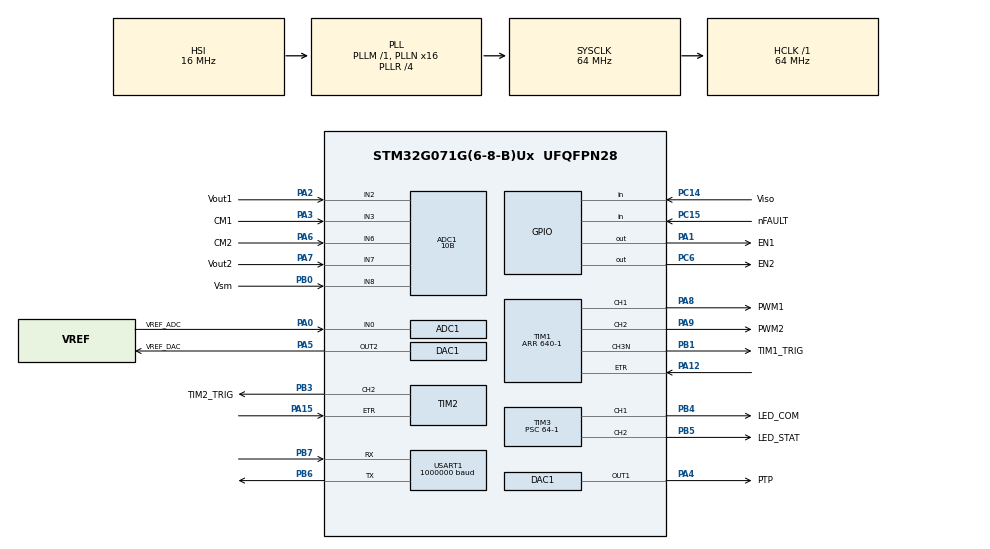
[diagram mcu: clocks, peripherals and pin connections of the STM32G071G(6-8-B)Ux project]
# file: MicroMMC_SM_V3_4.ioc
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ADC1.Channel-0\#ChannelRegularConversion=ADC_CHANNEL_3
ADC1.Channel-1\#ChannelRegularConversion=ADC_CHANNEL_6
ADC1.Channel-2\#ChannelRegularConversion=ADC_CHANNEL_2
ADC1.Channel-3\#ChannelRegularConversion=ADC_CHANNEL_7
ADC1.Channel-4\#ChannelRegularConversion=ADC_CHANNEL_8
ADC1.Channel-5\#ChannelRegularConversion=ADC_CHANNEL_0
ADC1.Channel-6\#ChannelRegularConversion=ADC_CHANNEL_TEMPSENSOR
ADC1.ContinuousConvMode=DISABLE
ADC1.DMAContinuousRequests=ENABLE
ADC1.EOCSelection=ADC_EOC_SEQ_CONV
ADC1.ExternalTrigConv=ADC_EXTERNALTRIG_T1_CC4
ADC1.LowPowerAutoPowerOff=ENABLE
ADC1.NbrOfConversion=7
ADC1.NbrOfConversionFlag=1
ADC1.Overrun=ADC_OVR_DATA_OVERWRITTEN
ADC1.Rank-0\#ChannelRegularConversion=1
ADC1.Rank-1\#ChannelRegularConversion=2
ADC1.Rank-2\#ChannelRegularConversion=3
ADC1.Rank-3\#ChannelRegularConversion=4
ADC1.Rank-4\#ChannelRegularConversion=5
ADC1.Rank-5\#ChannelRegularConversion=6
ADC1.Rank-6\#ChannelRegularConversion=7
ADC1.Resolution=ADC_RESOLUTION_10B
ADC1.SamplingTime-0\#ChannelRegularConversion=ADC_SAMPLINGTIME_COMMON_1
ADC1.SamplingTime-1\#ChannelRegularConversion=ADC_SAMPLINGTIME_COMMON_1
ADC1.SamplingTime-2\#ChannelRegularConversion=ADC_SAMPLINGTIME_COMMON_2
ADC1.SamplingTime-3\#ChannelRegularConversion=ADC_SAMPLINGTIME_COMMON_2
ADC1.SamplingTime-4\#ChannelRegularConversion=ADC_SAMPLINGTIME_COMMON_2
ADC1.SamplingTime-5\#ChannelRegularConversion=ADC_SAMPLINGTIME_COMMON_2
ADC1.SamplingTime-6\#ChannelRegularConversion=ADC_SAMPLINGTIME_COMMON_1
ADC1.SamplingTimeCommon1=ADC_SAMPLETIME_19CYCLES_5
ADC1.SamplingTimeCommon2=ADC_SAMPLETIME_3CYCLES_5
ADC1.SelectedChannel=ADC_CHANNEL_0|ADC_CHANNEL_2|ADC_CHANNEL_3|ADC_CHANNEL_6|ADC_CHANNEL_7|ADC_CHANNEL_TEMPSENSOR|ADC_CHANNEL_8
ADC1.master=1
DAC1.DAC_Channel-DAC_OUT1=DAC_CHANNEL_1
DAC1.DAC_Channel-DAC_OUT2=DAC_CHANNEL_2
Dma.ADC1.0.Direction=DMA_PERIPH_TO_MEMORY
Dma.ADC1.0.EventEnable=DISABLE
Dma.ADC1.0.Instance=DMA1_Channel1
Dma.ADC1.0.MemDataAlignment=DMA_MDATAALIGN_HALFWORD
Dma.ADC1.0.MemInc=DMA_MINC_ENABLE
Dma.ADC1.0.Mode=DMA_CIRCULAR
Dma.ADC1.0.PeriphDataAlignment=DMA_PDATAALIGN_HALFWORD
Dma.ADC1.0.PeriphInc=DMA_PINC_DISABLE
Dma.ADC1.0.Polarity=HAL_DMAMUX_REQ_GEN_RISING
Dma.ADC1.0.Priority=DMA_PRIORITY_MEDIUM
Dma.ADC1.0.RequestNumber=1
Dma.ADC1.0.SignalID=NONE
Dma.ADC1.0.SyncEnable=DISABLE
Dma.ADC1.0.SyncPolarity=HAL_DMAMUX_SYNC_NO_EVENT
Dma.ADC1.0.SyncRequestNumber=1
Dma.ADC1.0.SyncSignalID=NONE
Dma.Request0=ADC1
Dma.Request1=TIM1_CH1
Dma.Request2=TIM1_CH2
Dma.Request3=TIM3_CH1
Dma.Request4=TIM3_CH2
Dma.Request5=USART1_RX
Dma.Request6=USART1_TX
Dma.TIM1_CH1.1.Direction=DMA_MEMORY_TO_PERIPH
Dma.TIM1_CH1.1.EventEnable=DISABLE
Dma.TIM1_CH1.1.Instance=DMA1_Channel2
Dma.TIM1_CH1.1.MemDataAlignment=DMA_MDATAALIGN_HALFWORD
Dma.TIM1_CH1.1.MemInc=DMA_MINC_ENABLE
Dma.TIM1_CH1.1.Mode=DMA_CIRCULAR
Dma.TIM1_CH1.1.PeriphDataAlignment=DMA_PDATAALIGN_HALFWORD
Dma.TIM1_CH1.1.PeriphInc=DMA_PINC_DISABLE
Dma.TIM1_CH1.1.Polarity=HAL_DMAMUX_REQ_GEN_RISING
Dma.TIM1_CH1.1.Priority=DMA_PRIORITY_VERY_HIGH
Dma.TIM1_CH1.1.RequestNumber=1
Dma.TIM1_CH1.1.SignalID=NONE
Dma.TIM1_CH1.1.SyncEnable=DISABLE
Dma.TIM1_CH1.1.SyncPolarity=HAL_DMAMUX_SYNC_NO_EVENT
Dma.TIM1_CH1.1.SyncRequestNumber=1
Dma.TIM1_CH1.1.SyncSignalID=NONE
Dma.TIM1_CH2.2.Direction=DMA_MEMORY_TO_PERIPH
Dma.TIM1_CH2.2.EventEnable=DISABLE
Dma.TIM1_CH2.2.Instance=DMA1_Channel3
Dma.TIM1_CH2.2.MemDataAlignment=DMA_MDATAALIGN_HALFWORD
Dma.TIM1_CH2.2.MemInc=DMA_MINC_ENABLE
Dma.TIM1_CH2.2.Mode=DMA_CIRCULAR
Dma.TIM1_CH2.2.PeriphDataAlignment=DMA_PDATAALIGN_HALFWORD
Dma.TIM1_CH2.2.PeriphInc=DMA_PINC_DISABLE
Dma.TIM1_CH2.2.Polarity=HAL_DMAMUX_REQ_GEN_RISING
Dma.TIM1_CH2.2.Priority=DMA_PRIORITY_VERY_HIGH
Dma.TIM1_CH2.2.RequestNumber=1
Dma.TIM1_CH2.2.SignalID=NONE
Dma.TIM1_CH2.2.SyncEnable=DISABLE
Dma.TIM1_CH2.2.SyncPolarity=HAL_DMAMUX_SYNC_NO_EVENT
Dma.TIM1_CH2.2.SyncRequestNumber=1
Dma.TIM1_CH2.2.SyncSignalID=NONE
Dma.TIM3_CH1.3.Direction=DMA_MEMORY_TO_PERIPH
Dma.TIM3_CH1.3.EventEnable=DISABLE
Dma.TIM3_CH1.3.Instance=DMA1_Channel4
Dma.TIM3_CH1.3.MemDataAlignment=DMA_MDATAALIGN_HALFWORD
Dma.TIM3_CH1.3.MemInc=DMA_MINC_ENABLE
Dma.TIM3_CH1.3.Mode=DMA_CIRCULAR
Dma.TIM3_CH1.3.PeriphDataAlignment=DMA_PDATAALIGN_HALFWORD
Dma.TIM3_CH1.3.PeriphInc=DMA_PINC_DISABLE
Dma.TIM3_CH1.3.Polarity=HAL_DMAMUX_REQ_GEN_RISING
Dma.TIM3_CH1.3.Priority=DMA_PRIORITY_LOW
Dma.TIM3_CH1.3.RequestNumber=1
Dma.TIM3_CH1.3.SignalID=NONE
Dma.TIM3_CH1.3.SyncEnable=DISABLE
Dma.TIM3_CH1.3.SyncPolarity=HAL_DMAMUX_SYNC_NO_EVENT
Dma.TIM3_CH1.3.SyncRequestNumber=1
Dma.TIM3_CH1.3.SyncSignalID=NONE
Dma.TIM3_CH2.4.Direction=DMA_MEMORY_TO_PERIPH
Dma.TIM3_CH2.4.EventEnable=DISABLE
Dma.TIM3_CH2.4.Instance=DMA1_Channel5
Dma.TIM3_CH2.4.MemDataAlignment=DMA_MDATAALIGN_HALFWORD
Dma.TIM3_CH2.4.MemInc=DMA_MINC_ENABLE
Dma.TIM3_CH2.4.Mode=DMA_CIRCULAR
Dma.TIM3_CH2.4.PeriphDataAlignment=DMA_PDATAALIGN_HALFWORD
Dma.TIM3_CH2.4.PeriphInc=DMA_PINC_DISABLE
Dma.TIM3_CH2.4.Polarity=HAL_DMAMUX_REQ_GEN_RISING
Dma.TIM3_CH2.4.Priority=DMA_PRIORITY_LOW
Dma.TIM3_CH2.4.RequestNumber=1
Dma.TIM3_CH2.4.SignalID=NONE
Dma.TIM3_CH2.4.SyncEnable=DISABLE
Dma.TIM3_CH2.4.SyncPolarity=HAL_DMAMUX_SYNC_NO_EVENT
Dma.TIM3_CH2.4.SyncRequestNumber=1
Dma.TIM3_CH2.4.SyncSignalID=NONE
Dma.USART1_RX.5.Direction=DMA_PERIPH_TO_MEMORY
Dma.USART1_RX.5.EventEnable=DISABLE
Dma.USART1_RX.5.Instance=DMA1_Channel6
Dma.USART1_RX.5.MemDataAlignment=DMA_MDATAALIGN_BYTE
Dma.USART1_RX.5.MemInc=DMA_MINC_ENABLE
Dma.USART1_RX.5.Mode=DMA_CIRCULAR
Dma.USART1_RX.5.PeriphDataAlignment=DMA_PDATAALIGN_BYTE
Dma.USART1_RX.5.PeriphInc=DMA_PINC_DISABLE
Dma.USART1_RX.5.Polarity=HAL_DMAMUX_REQ_GEN_RISING
Dma.USART1_RX.5.Priority=DMA_PRIORITY_HIGH
Dma.USART1_RX.5.RequestNumber=1
Dma.USART1_RX.5.SignalID=NONE
Dma.USART1_RX.5.SyncEnable=DISABLE
Dma.USART1_RX.5.SyncPolarity=HAL_DMAMUX_SYNC_NO_EVENT
Dma.USART1_RX.5.SyncRequestNumber=1
Dma.USART1_RX.5.SyncSignalID=NONE
Dma.USART1_TX.6.Direction=DMA_MEMORY_TO_PERIPH
Dma.USART1_TX.6.EventEnable=DISABLE
Dma.USART1_TX.6.Instance=DMA1_Channel7
Dma.USART1_TX.6.MemDataAlignment=DMA_MDATAALIGN_BYTE
Dma.USART1_TX.6.MemInc=DMA_MINC_ENABLE
Dma.USART1_TX.6.Mode=DMA_NORMAL
Dma.USART1_TX.6.PeriphDataAlignment=DMA_PDATAALIGN_BYTE
Dma.USART1_TX.6.PeriphInc=DMA_PINC_DISABLE
Dma.USART1_TX.6.Polarity=HAL_DMAMUX_REQ_GEN_RISING
Dma.USART1_TX.6.Priority=DMA_PRIORITY_HIGH
Dma.USART1_TX.6.RequestNumber=1
Dma.USART1_TX.6.SignalID=NONE
Dma.USART1_TX.6.SyncEnable=DISABLE
Dma.USART1_TX.6.SyncPolarity=HAL_DMAMUX_SYNC_NO_EVENT
Dma.USART1_TX.6.SyncRequestNumber=1
Dma.USART1_TX.6.SyncSignalID=NONE
Mcu.Family=STM32G0
Mcu.Name=STM32G071G(6-8-B)Ux
Mcu.Package=UFQFPN28
NVIC.DMA1_Ch4_7_DMAMUX1_OVR_IRQn=true\:0\:0\:false\:false\:true\:false\:true\:true
NVIC.DMA1_Channel1_IRQn=true\:0\:0\:false\:false\:true\:false\:true\:true
NVIC.DMA1_Channel2_3_IRQn=true\:0\:0\:false\:false\:true\:false\:true\:true
PA0.GPIO_Label=VREF_ADC
PA0.Mode=IN0
PA0.Signal=ADC1_IN0
PA1.GPIO_Label=EN1
PA1.Signal=GPIO_Output
PA12\ [PA10].GPIO_Speed=GPIO_SPEED_FREQ_LOW
PA12\ [PA10].Signal=S_TIM1_ETR
PA13.Mode=Serial_Wire
PA13.Signal=SYS_SWDIO
PA14-BOOT0.Mode=Serial_Wire
PA14-BOOT0.Signal=SYS_SWCLK
PA15.Signal=S_TIM2_CH1_ETR
PA2.GPIO_Label=Vout1
PA2.Mode=IN2
PA2.Signal=ADC1_IN2
PA3.GPIO_Label=CM1
PA3.Mode=IN3
PA3.Signal=ADC1_IN3
PA4.GPIO_Label=PTP
PA4.Signal=COMP_DAC11_group
PA5.GPIO_Label=VREF_DAC
PA5.Signal=COMP_DAC12_group
PA6.GPIO_Label=CM2
PA6.Mode=IN6
PA6.Signal=ADC1_IN6
PA7.GPIO_Label=Vout2
PA7.Mode=IN7
PA7.Signal=ADC1_IN7
PA8.GPIO_Label=PWM1
PA8.GPIO_Speed=GPIO_SPEED_FREQ_VERY_HIGH
PA8.Signal=S_TIM1_CH1
PA9\ [PA11].GPIO_Label=PWM2
PA9\ [PA11].GPIO_Speed=GPIO_SPEED_FREQ_VERY_HIGH
PA9\ [PA11].Signal=S_TIM1_CH2
PB0.GPIO_Label=Vsm
PB0.Mode=IN8
PB0.Signal=ADC1_IN8
PB1.GPIO_Label=TIM1_TRIG
PB1.Mode=PWM Generation3 CH3N
PB1.Signal=TIM1_CH3N
PB3.GPIO_Label=TIM2_TRIG
PB3.Signal=S_TIM2_CH2
PB4.GPIO_Label=LED_COM
PB4.Signal=S_TIM3_CH1
PB5.GPIO_Label=LED_STAT
PB5.Signal=S_TIM3_CH2
PB6.GPIO_Speed=GPIO_SPEED_FREQ_VERY_HIGH
PB6.Mode=Asynchronous
PB6.Signal=USART1_TX
PB7.Mode=Asynchronous
PB7.Signal=USART1_RX
PC14-OSC32_IN\ (PC14).GPIO_Label=Viso
PC14-OSC32_IN\ (PC14).Signal=GPIO_Input
PC15-OSC32_OUT\ (PC15).GPIO_Label=nFAULT
PC15-OSC32_OUT\ (PC15).GPIO_PuPd=GPIO_PULLUP
PC15-OSC32_OUT\ (PC15).Signal=GPIO_Input
PC6.GPIO_Label=EN2
PC6.Signal=GPIO_Output
ProjectManager.HeapSize=0x200
ProjectManager.StackSize=0x400
ProjectManager.TargetToolchain=STM32CubeIDE
RCC.ADCFreq_Value=64000000
RCC.AHBFreq_Value=64000000
RCC.CortexFreq_Value=64000000
RCC.EXTERNAL_CLOCK_VALUE=48000
RCC.HCLKFreq_Value=64000000
RCC.HSE_VALUE=8000000
RCC.HSI_VALUE=16000000
RCC.LSE_VALUE=32768
RCC.PLLN=16
RCC.PLLR=RCC_PLLR_DIV4
RCC.SYSCLKFreq_VALUE=64000000
RCC.SYSCLKSource=RCC_SYSCLKSOURCE_PLLCLK
RCC.TIM1CLockSelectionVirtual=RCC_TIM1CLKSOURCE_PLL
RCC.VCOOutputFreq_Value=256000000
SH.COMP_DAC11_group.0=DAC1_OUT1,DAC_OUT1
SH.COMP_DAC12_group.0=DAC1_OUT2,DAC_OUT2
SH.S_TIM1_CH1.0=TIM1_CH1,PWM Generation1 CH1
SH.S_TIM1_CH2.0=TIM1_CH2,PWM Generation2 CH2
SH.S_TIM1_ETR.0=TIM1_ETR,ETR-as-clearing-source
SH.S_TIM2_CH1_ETR.0=TIM2_ETR,ETR-as-clearing-source
SH.S_TIM2_CH2.0=TIM2_CH2,PWM Generation2 CH2
SH.S_TIM3_CH1.0=TIM3_CH1,PWM Generation1 CH1
SH.S_TIM3_CH2.0=TIM3_CH2,PWM Generation2 CH2
TIM1.Channel-PWM\ Generation1\ CH1=TIM_CHANNEL_1
TIM1.Channel-PWM\ Generation2\ CH2=TIM_CHANNEL_2
TIM1.Channel-PWM\ Generation3\ CH3N=TIM_CHANNEL_3
TIM1.Channel-PWM\ Generation4\ No\ Output=TIM_CHANNEL_4
TIM1.CounterMode=TIM_COUNTERMODE_CENTERALIGNED2
TIM1.Period=640-1
TIM1.Pulse-PWM\ Generation4\ No\ Output=46
TIM1.TIM_MasterOutputTrigger=TIM_TRGO_RESET
TIM1.TIM_MasterOutputTrigger2=TIM_TRGO2_OC4REF
TIM2.Channel-PWM\ Generation2\ CH2=TIM_CHANNEL_2
TIM3.Channel-PWM\ Generation1\ CH1=TIM_CHANNEL_1
TIM3.Channel-PWM\ Generation2\ CH2=TIM_CHANNEL_2
TIM3.Period=10000
TIM3.Prescaler=64-1
USART1.BaudRate=1000000
USART1.Parity=PARITY_ODD
USART1.VirtualMode-Asynchronous=VM_ASYNC
USART1.WordLength=WORDLENGTH_9B
VP_ADC1_TempSens_Input.Mode=IN-TempSens
VP_SYS_VS_PINREMAP.Mode=PINREMAP
VP_TIM1_VS_ClockSourceINT.Mode=Internal
VP_TIM1_VS_no_output4.Mode=PWM Generation4 No Output
VP_TIM2_VS_ClockSourceINT.Mode=Internal
VP_TIM3_VS_ClockSourceINT.Mode=Internal
board=custom

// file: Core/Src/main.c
/* USER CODE BEGIN Header */
/**
  ******************************************************************************
  * @file           : main.c
  * @brief          : Main program body for the Micro-MMC SM MCU, v3.40
  ******************************************************************************
  * @attention
  *
  * Copyright (c) 2026 Michael Merlin, University of Edinburgh.
  * Copyright (c) 2026 STMicroelectronics.
  * All rights reserved.
  *
  * This software is licensed under terms that can be found in the LICENSE file
  * in the root directory of this software component.
  * If no LICENSE file comes with this software, it is provided AS-IS.
  *
  ******************************************************************************
  */
/* USER CODE END Header */
#include "main.h"

/* USER CODE BEGIN Includes */

#include <data_tables.h>

/* USER CODE END Includes */

/* USER CODE BEGIN PTD */

#define TIMER_CLK		64000000
#define TIMER1_ARR  	640
#define TIMER2_ARR  	1000
#define ADC_RESOLUTION 	1024
#define DMA_SAMPLES_BIT	3
#define DMA_SAMPLES 	8 		//2^DMA_SAMPLES_BIT or (1<<(DMA_SAMPLES_BIT-1))
#define ADC_CHANNELS 	7
#define DMA_BUFFER_SIZE	ADC_CHANNELS*DMA_SAMPLES
#define DAC_OFFSET		2048	// 1.65V/3.3*DAC_RESOLUTION
#define	PI				3.1415926535
#define MESSAGE_LENGTH	4

/* USER CODE END PTD */

ADC_HandleTypeDef hadc1;
DMA_HandleTypeDef hdma_adc1;

DAC_HandleTypeDef hdac1;

TIM_HandleTypeDef htim1;
TIM_HandleTypeDef htim2;
TIM_HandleTypeDef htim3;
DMA_HandleTypeDef hdma_tim1_ch1;
DMA_HandleTypeDef hdma_tim1_ch2;
DMA_HandleTypeDef hdma_tim3_ch1;
DMA_HandleTypeDef hdma_tim3_ch2;

UART_HandleTypeDef huart1;
DMA_HandleTypeDef hdma_usart1_rx;
DMA_HandleTypeDef hdma_usart1_tx;

/* USER CODE BEGIN PV */

uint16_t dma_buffer[2 * DMA_BUFFER_SIZE];
uint16_t bufferStart = 0;
uint8_t processData_flag = 0;
  // variables for ADC calculation
int32_t i1_sum = 0, i2_sum = 0;
uint32_t v1_sum = 0, v2_sum = 0, vsm_sum = 0, vref_sum = 0;
uint32_t cpu_temp_sum = 0;
int32_t i1_avg, i2_avg;
uint32_t v1_avg, v2_avg, vsm_avg, vref_avg;
uint32_t cpu_temp_avg;
	// variables for UART
uint8_t UART1_rxBuffer[2 * MESSAGE_LENGTH] = {0};

/* USER CODE END PV */

void SystemClock_Config(void);
static void MX_GPIO_Init(void);
static void MX_DMA_Init(void);
static void MX_DAC1_Init(void);
static void MX_TIM1_Init(void);
static void MX_TIM2_Init(void);
static void MX_TIM3_Init(void);
static void MX_ADC1_Init(void);
static void MX_USART1_UART_Init(void);

/* USER CODE BEGIN 0 */

void Process_ADC_data(void)
{
	uint16_t *buffer = &dma_buffer[bufferStart];
	i1_sum = 0, i2_sum = 0, v1_sum = 0, v2_sum = 0, vsm_sum = 0, vref_sum = 0, cpu_temp_sum = 0;
	for (int i = 0; i < DMA_SAMPLES; ++i) {
		i1_sum += buffer[0];
		i2_sum += buffer[1];
		v1_sum += buffer[2];
		v2_sum += buffer[3];
		vsm_sum += buffer[4];
		vref_sum += buffer[5];
		cpu_temp_sum += buffer[6];

		// move pointer to the next sequence
		buffer += ADC_CHANNELS;
		}

	vref_avg = (vref_sum >> DMA_SAMPLES_BIT);
	i1_avg = (int32_t)(i1_sum >> DMA_SAMPLES_BIT) - vref_avg;
	i2_avg = (int32_t)(i2_sum >> DMA_SAMPLES_BIT) - vref_avg;
	v1_avg = (v1_sum >> DMA_SAMPLES_BIT);
	v2_avg = (v1_sum >> DMA_SAMPLES_BIT);
	vsm_avg = (vsm_sum >> DMA_SAMPLES_BIT);
	cpu_temp_avg = (cpu_temp_sum >> DMA_SAMPLES_BIT);

	/*
	// VDDA can be calculated based on the measured vref and the calibration data
	vdda = (float) VREFINT_CAL_VREF * (float) *VREFINT_CAL_ADDR / vref_avg / 1000;

	// Knowing vdda and the resolution of adc - the actual voltage can be calculated
	vref = (float) vdda / ADC_RESOLUTION * vref_avg;

	// Temperature can be calculated based on the
	temp = (float) ((float) ((float) (TEMPSENSOR_CAL2_TEMP - TEMPSENSOR_CAL1_TEMP) / (float) (*TEMPSENSOR_CAL2_ADDR - *TEMPSENSOR_CAL1_ADDR)) * (temp_avg *TEMPSENSOR_CAL1_ADDR) + TEMPSENSOR_CAL1_TEMP);
	*/

	processData_flag = 0;

	return;
}

/* USER CODE END 0 */

int main(void)
{

  /* MCU Configuration--------------------------------------------------------*/

  /* Reset of all peripherals, Initializes the Flash interface and the Systick. */
  HAL_Init();

  /* Configure the system clock */
  SystemClock_Config();

  /* Initialize all configured peripherals */
  MX_GPIO_Init();
  MX_DMA_Init();
  MX_DAC1_Init();
  MX_TIM1_Init();
  MX_TIM2_Init();
  MX_TIM3_Init();
  MX_ADC1_Init();
  MX_USART1_UART_Init();
  /* USER CODE BEGIN 2 */

	  // calibrate ADC for better accuracy
	if(HAL_ADCEx_Calibration_Start(&hadc1) != HAL_OK)
	  Error_Handler();

		  // Set the DC value for the DAC
	DAC1->DHR12R2 = DAC_OFFSET;
	HAL_DAC_Start(&hdac1, DAC_CHANNEL_2);

		  // Start the DMA triggered ADC
	if(HAL_ADC_Start_DMA(&hadc1, (uint32_t*) &dma_buffer, 2 * DMA_BUFFER_SIZE) != HAL_OK)
	  Error_Handler();

		  // Set up the receiving link
	HAL_UART_Receive_DMA(&huart1, UART1_rxBuffer, MESSAGE_LENGTH);

		  // Enable Pins for H-Bridges & Activate Timer 1 for PWM
	HAL_TIM_PWM_Start_DMA(&htim1, TIM_CHANNEL_1, (uint32_t *) cos_A640_M110_PH000_THI_table, COS_TABLE_LENGTH);
	HAL_TIM_PWM_Start_DMA(&htim1, TIM_CHANNEL_2, (uint32_t *) cos_A640_M110_PH090_THI_table, COS_TABLE_LENGTH);
	TIM1->CCR3 = 64; // To account for the 500ns delay in bridge switching - to be moved to CCR4

		  // Enable the Motor Drive outputs
	HAL_GPIO_WritePin(EN1_GPIO_Port, EN1_Pin, GPIO_PIN_SET);
	HAL_GPIO_WritePin(EN2_GPIO_Port, EN2_Pin, GPIO_PIN_SET);

  // Activate heartbeat patterns for LEDs
    // STAT LED
  HAL_TIM_PWM_Start_DMA(&htim3, TIM_CHANNEL_1, (uint32_t *) heartbeat_1Hz_A10000_table, HEARTBEAT_LENGTH);
    // COM LED
  HAL_TIM_PWM_Start_DMA(&htim3, TIM_CHANNEL_2, (uint32_t *) heartbeat_2Hz_A10000_table, HEARTBEAT_LENGTH);

  /* USER CODE END 2 */

  /* Infinite loop */
  while (1)
  {

    /* USER CODE BEGIN 3 */

	  if(processData_flag)
	  {
		  Process_ADC_data();
	  }

	  // Sleep this next interruption
	  HAL_SuspendTick();
	  HAL_PWR_EnterSLEEPMode(PWR_MAINREGULATOR_ON, PWR_SLEEPENTRY_WFI);
  }
  /* USER CODE END 3 */
}

void SystemClock_Config(void)
{
  RCC_OscInitTypeDef RCC_OscInitStruct = {0};
  RCC_ClkInitTypeDef RCC_ClkInitStruct = {0};

  /** Configure the main internal regulator output voltage
  */
  HAL_PWREx_ControlVoltageScaling(PWR_REGULATOR_VOLTAGE_SCALE1);

  /** Initializes the RCC Oscillators according to the specified parameters
  * in the RCC_OscInitTypeDef structure.
  */
  RCC_OscInitStruct.OscillatorType = RCC_OSCILLATORTYPE_HSI;
  RCC_OscInitStruct.HSIState = RCC_HSI_ON;
  RCC_OscInitStruct.HSIDiv = RCC_HSI_DIV1;
  RCC_OscInitStruct.HSICalibrationValue = RCC_HSICALIBRATION_DEFAULT;
  RCC_OscInitStruct.PLL.PLLState = RCC_PLL_ON;
  RCC_OscInitStruct.PLL.PLLSource = RCC_PLLSOURCE_HSI;
  RCC_OscInitStruct.PLL.PLLM = RCC_PLLM_DIV1;
  RCC_OscInitStruct.PLL.PLLN = 16;
  RCC_OscInitStruct.PLL.PLLP = RCC_PLLP_DIV2;
  RCC_OscInitStruct.PLL.PLLQ = RCC_PLLQ_DIV2;
  RCC_OscInitStruct.PLL.PLLR = RCC_PLLR_DIV4;
  if (HAL_RCC_OscConfig(&RCC_OscInitStruct) != HAL_OK)
  {
    Error_Handler();
  }

  /** Initializes the CPU, AHB and APB buses clocks
  */
  RCC_ClkInitStruct.ClockType = RCC_CLOCKTYPE_HCLK|RCC_CLOCKTYPE_SYSCLK
                              |RCC_CLOCKTYPE_PCLK1;
  RCC_ClkInitStruct.SYSCLKSource = RCC_SYSCLKSOURCE_PLLCLK;
  RCC_ClkInitStruct.AHBCLKDivider = RCC_SYSCLK_DIV1;
  RCC_ClkInitStruct.APB1CLKDivider = RCC_HCLK_DIV1;

  if (HAL_RCC_ClockConfig(&RCC_ClkInitStruct, FLASH_LATENCY_2) != HAL_OK)
  {
    Error_Handler();
  }
}

static void MX_ADC1_Init(void)
{

  ADC_ChannelConfTypeDef sConfig = {0};

  /** Configure the global features of the ADC (Clock, Resolution, Data Alignment and number of conversion)
  */
  hadc1.Instance = ADC1;
  hadc1.Init.ClockPrescaler = ADC_CLOCK_SYNC_PCLK_DIV2;
  hadc1.Init.Resolution = ADC_RESOLUTION_10B;
  hadc1.Init.DataAlign = ADC_DATAALIGN_RIGHT;
  hadc1.Init.ScanConvMode = ADC_SCAN_ENABLE;
  hadc1.Init.EOCSelection = ADC_EOC_SEQ_CONV;
  hadc1.Init.LowPowerAutoWait = DISABLE;
  hadc1.Init.LowPowerAutoPowerOff = ENABLE;
  hadc1.Init.ContinuousConvMode = DISABLE;
  hadc1.Init.NbrOfConversion = 7;
  hadc1.Init.DiscontinuousConvMode = DISABLE;
  hadc1.Init.ExternalTrigConv = ADC_EXTERNALTRIG_T1_CC4;
  hadc1.Init.ExternalTrigConvEdge = ADC_EXTERNALTRIGCONVEDGE_RISING;
  hadc1.Init.DMAContinuousRequests = ENABLE;
  hadc1.Init.Overrun = ADC_OVR_DATA_OVERWRITTEN;
  hadc1.Init.SamplingTimeCommon1 = ADC_SAMPLETIME_19CYCLES_5;
  hadc1.Init.SamplingTimeCommon2 = ADC_SAMPLETIME_3CYCLES_5;
  hadc1.Init.OversamplingMode = DISABLE;
  hadc1.Init.TriggerFrequencyMode = ADC_TRIGGER_FREQ_HIGH;
  if (HAL_ADC_Init(&hadc1) != HAL_OK)
  {
    Error_Handler();
  }

  /** Configure Regular Channel
  */
  sConfig.Channel = ADC_CHANNEL_3;
  sConfig.Rank = ADC_REGULAR_RANK_1;
  sConfig.SamplingTime = ADC_SAMPLINGTIME_COMMON_1;
  if (HAL_ADC_ConfigChannel(&hadc1, &sConfig) != HAL_OK)
  {
    Error_Handler();
  }

  /** Configure Regular Channel
  */
  sConfig.Channel = ADC_CHANNEL_6;
  sConfig.Rank = ADC_REGULAR_RANK_2;
  if (HAL_ADC_ConfigChannel(&hadc1, &sConfig) != HAL_OK)
  {
    Error_Handler();
  }

  /** Configure Regular Channel
  */
  sConfig.Channel = ADC_CHANNEL_2;
  sConfig.Rank = ADC_REGULAR_RANK_3;
  sConfig.SamplingTime = ADC_SAMPLINGTIME_COMMON_2;
  if (HAL_ADC_ConfigChannel(&hadc1, &sConfig) != HAL_OK)
  {
    Error_Handler();
  }

  /** Configure Regular Channel
  */
  sConfig.Channel = ADC_CHANNEL_7;
  sConfig.Rank = ADC_REGULAR_RANK_4;
  if (HAL_ADC_ConfigChannel(&hadc1, &sConfig) != HAL_OK)
  {
    Error_Handler();
  }

  /** Configure Regular Channel
  */
  sConfig.Channel = ADC_CHANNEL_8;
  sConfig.Rank = ADC_REGULAR_RANK_5;
  if (HAL_ADC_ConfigChannel(&hadc1, &sConfig) != HAL_OK)
  {
    Error_Handler();
  }

  /** Configure Regular Channel
  */
  sConfig.Channel = ADC_CHANNEL_0;
  sConfig.Rank = ADC_REGULAR_RANK_6;
  if (HAL_ADC_ConfigChannel(&hadc1, &sConfig) != HAL_OK)
  {
    Error_Handler();
  }

  /** Configure Regular Channel
  */
  sConfig.Channel = ADC_CHANNEL_TEMPSENSOR;
  sConfig.Rank = ADC_REGULAR_RANK_7;
  sConfig.SamplingTime = ADC_SAMPLINGTIME_COMMON_1;
  if (HAL_ADC_ConfigChannel(&hadc1, &sConfig) != HAL_OK)
  {
    Error_Handler();
  }

}

static void MX_DAC1_Init(void)
{

  DAC_ChannelConfTypeDef sConfig = {0};

  /** DAC Initialization
  */
  hdac1.Instance = DAC1;
  if (HAL_DAC_Init(&hdac1) != HAL_OK)
  {
    Error_Handler();
  }

  /** DAC channel OUT1 config
  */
  sConfig.DAC_SampleAndHold = DAC_SAMPLEANDHOLD_DISABLE;
  sConfig.DAC_Trigger = DAC_TRIGGER_NONE;
  sConfig.DAC_OutputBuffer = DAC_OUTPUTBUFFER_ENABLE;
  sConfig.DAC_ConnectOnChipPeripheral = DAC_CHIPCONNECT_DISABLE;
  sConfig.DAC_UserTrimming = DAC_TRIMMING_FACTORY;
  if (HAL_DAC_ConfigChannel(&hdac1, &sConfig, DAC_CHANNEL_1) != HAL_OK)
  {
    Error_Handler();
  }

  /** DAC channel OUT2 config
  */
  if (HAL_DAC_ConfigChannel(&hdac1, &sConfig, DAC_CHANNEL_2) != HAL_OK)
  {
    Error_Handler();
  }

}

static void MX_TIM1_Init(void)
{

  TIM_ClockConfigTypeDef sClockSourceConfig = {0};
  TIM_MasterConfigTypeDef sMasterConfig = {0};
  TIM_OC_InitTypeDef sConfigOC = {0};
  TIM_BreakDeadTimeConfigTypeDef sBreakDeadTimeConfig = {0};

  htim1.Instance = TIM1;
  htim1.Init.Prescaler = 0;
  htim1.Init.CounterMode = TIM_COUNTERMODE_CENTERALIGNED2;
  htim1.Init.Period = 640-1;
  htim1.Init.ClockDivision = TIM_CLOCKDIVISION_DIV1;
  htim1.Init.RepetitionCounter = 0;
  htim1.Init.AutoReloadPreload = TIM_AUTORELOAD_PRELOAD_DISABLE;
  if (HAL_TIM_Base_Init(&htim1) != HAL_OK)
  {
    Error_Handler();
  }
  sClockSourceConfig.ClockSource = TIM_CLOCKSOURCE_INTERNAL;
  if (HAL_TIM_ConfigClockSource(&htim1, &sClockSourceConfig) != HAL_OK)
  {
    Error_Handler();
  }
  if (HAL_TIM_PWM_Init(&htim1) != HAL_OK)
  {
    Error_Handler();
  }
  sMasterConfig.MasterOutputTrigger = TIM_TRGO_RESET;
  sMasterConfig.MasterOutputTrigger2 = TIM_TRGO2_OC4REF;
  sMasterConfig.MasterSlaveMode = TIM_MASTERSLAVEMODE_DISABLE;
  if (HAL_TIMEx_MasterConfigSynchronization(&htim1, &sMasterConfig) != HAL_OK)
  {
    Error_Handler();
  }
  sConfigOC.OCMode = TIM_OCMODE_PWM1;
  sConfigOC.Pulse = 0;
  sConfigOC.OCPolarity = TIM_OCPOLARITY_HIGH;
  sConfigOC.OCNPolarity = TIM_OCNPOLARITY_HIGH;
  sConfigOC.OCFastMode = TIM_OCFAST_DISABLE;
  sConfigOC.OCIdleState = TIM_OCIDLESTATE_RESET;
  sConfigOC.OCNIdleState = TIM_OCNIDLESTATE_RESET;
  if (HAL_TIM_PWM_ConfigChannel(&htim1, &sConfigOC, TIM_CHANNEL_1) != HAL_OK)
  {
    Error_Handler();
  }
  if (HAL_TIM_PWM_ConfigChannel(&htim1, &sConfigOC, TIM_CHANNEL_2) != HAL_OK)
  {
    Error_Handler();
  }
  if (HAL_TIM_PWM_ConfigChannel(&htim1, &sConfigOC, TIM_CHANNEL_3) != HAL_OK)
  {
    Error_Handler();
  }
  sConfigOC.Pulse = 46;
  if (HAL_TIM_PWM_ConfigChannel(&htim1, &sConfigOC, TIM_CHANNEL_4) != HAL_OK)
  {
    Error_Handler();
  }
  sBreakDeadTimeConfig.OffStateRunMode = TIM_OSSR_DISABLE;
  sBreakDeadTimeConfig.OffStateIDLEMode = TIM_OSSI_DISABLE;
  sBreakDeadTimeConfig.LockLevel = TIM_LOCKLEVEL_OFF;
  sBreakDeadTimeConfig.DeadTime = 0;
  sBreakDeadTimeConfig.BreakState = TIM_BREAK_DISABLE;
  sBreakDeadTimeConfig.BreakPolarity = TIM_BREAKPOLARITY_HIGH;
  sBreakDeadTimeConfig.BreakFilter = 0;
  sBreakDeadTimeConfig.BreakAFMode = TIM_BREAK_AFMODE_INPUT;
  sBreakDeadTimeConfig.Break2State = TIM_BREAK2_DISABLE;
  sBreakDeadTimeConfig.Break2Polarity = TIM_BREAK2POLARITY_HIGH;
  sBreakDeadTimeConfig.Break2Filter = 0;
  sBreakDeadTimeConfig.Break2AFMode = TIM_BREAK_AFMODE_INPUT;
  sBreakDeadTimeConfig.AutomaticOutput = TIM_AUTOMATICOUTPUT_DISABLE;
  if (HAL_TIMEx_ConfigBreakDeadTime(&htim1, &sBreakDeadTimeConfig) != HAL_OK)
  {
    Error_Handler();
  }
  HAL_TIM_MspPostInit(&htim1);

}

static void MX_TIM2_Init(void)
{

  TIM_ClockConfigTypeDef sClockSourceConfig = {0};
  TIM_MasterConfigTypeDef sMasterConfig = {0};
  TIM_OC_InitTypeDef sConfigOC = {0};

  htim2.Instance = TIM2;
  htim2.Init.Prescaler = 0;
  htim2.Init.CounterMode = TIM_COUNTERMODE_UP;
  htim2.Init.Period = 4294967295;
  htim2.Init.ClockDivision = TIM_CLOCKDIVISION_DIV1;
  htim2.Init.AutoReloadPreload = TIM_AUTORELOAD_PRELOAD_DISABLE;
  if (HAL_TIM_Base_Init(&htim2) != HAL_OK)
  {
    Error_Handler();
  }
  sClockSourceConfig.ClockSource = TIM_CLOCKSOURCE_INTERNAL;
  if (HAL_TIM_ConfigClockSource(&htim2, &sClockSourceConfig) != HAL_OK)
  {
    Error_Handler();
  }
  if (HAL_TIM_PWM_Init(&htim2) != HAL_OK)
  {
    Error_Handler();
  }
  sMasterConfig.MasterOutputTrigger = TIM_TRGO_RESET;
  sMasterConfig.MasterSlaveMode = TIM_MASTERSLAVEMODE_DISABLE;
  if (HAL_TIMEx_MasterConfigSynchronization(&htim2, &sMasterConfig) != HAL_OK)
  {
    Error_Handler();
  }
  sConfigOC.OCMode = TIM_OCMODE_PWM1;
  sConfigOC.Pulse = 0;
  sConfigOC.OCPolarity = TIM_OCPOLARITY_HIGH;
  sConfigOC.OCFastMode = TIM_OCFAST_DISABLE;
  if (HAL_TIM_PWM_ConfigChannel(&htim2, &sConfigOC, TIM_CHANNEL_2) != HAL_OK)
  {
    Error_Handler();
  }
  HAL_TIM_MspPostInit(&htim2);

}

static void MX_TIM3_Init(void)
{

  TIM_ClockConfigTypeDef sClockSourceConfig = {0};
  TIM_MasterConfigTypeDef sMasterConfig = {0};
  TIM_OC_InitTypeDef sConfigOC = {0};

  htim3.Instance = TIM3;
  htim3.Init.Prescaler = 64-1;
  htim3.Init.CounterMode = TIM_COUNTERMODE_UP;
  htim3.Init.Period = 10000;
  htim3.Init.ClockDivision = TIM_CLOCKDIVISION_DIV1;
  htim3.Init.AutoReloadPreload = TIM_AUTORELOAD_PRELOAD_DISABLE;
  if (HAL_TIM_Base_Init(&htim3) != HAL_OK)
  {
    Error_Handler();
  }
  sClockSourceConfig.ClockSource = TIM_CLOCKSOURCE_INTERNAL;
  if (HAL_TIM_ConfigClockSource(&htim3, &sClockSourceConfig) != HAL_OK)
  {
    Error_Handler();
  }
  if (HAL_TIM_PWM_Init(&htim3) != HAL_OK)
  {
    Error_Handler();
  }
  sMasterConfig.MasterOutputTrigger = TIM_TRGO_RESET;
  sMasterConfig.MasterSlaveMode = TIM_MASTERSLAVEMODE_DISABLE;
  if (HAL_TIMEx_MasterConfigSynchronization(&htim3, &sMasterConfig) != HAL_OK)
  {
    Error_Handler();
  }
  sConfigOC.OCMode = TIM_OCMODE_PWM1;
  sConfigOC.Pulse = 0;
  sConfigOC.OCPolarity = TIM_OCPOLARITY_HIGH;
  sConfigOC.OCFastMode = TIM_OCFAST_DISABLE;
  if (HAL_TIM_PWM_ConfigChannel(&htim3, &sConfigOC, TIM_CHANNEL_1) != HAL_OK)
  {
    Error_Handler();
  }
  if (HAL_TIM_PWM_ConfigChannel(&htim3, &sConfigOC, TIM_CHANNEL_2) != HAL_OK)
  {
    Error_Handler();
  }
  HAL_TIM_MspPostInit(&htim3);

}

static void MX_USART1_UART_Init(void)
{

  huart1.Instance = USART1;
  huart1.Init.BaudRate = 1000000;
  huart1.Init.WordLength = UART_WORDLENGTH_9B;
  huart1.Init.StopBits = UART_STOPBITS_1;
  huart1.Init.Parity = UART_PARITY_ODD;
  huart1.Init.Mode = UART_MODE_TX_RX;
  huart1.Init.HwFlowCtl = UART_HWCONTROL_NONE;
  huart1.Init.OverSampling = UART_OVERSAMPLING_16;
  huart1.Init.OneBitSampling = UART_ONE_BIT_SAMPLE_DISABLE;
  huart1.Init.ClockPrescaler = UART_PRESCALER_DIV1;
  huart1.AdvancedInit.AdvFeatureInit = UART_ADVFEATURE_NO_INIT;
  if (HAL_UART_Init(&huart1) != HAL_OK)
  {
    Error_Handler();
  }
  if (HAL_UARTEx_SetTxFifoThreshold(&huart1, UART_TXFIFO_THRESHOLD_1_8) != HAL_OK)
  {
    Error_Handler();
  }
  if (HAL_UARTEx_SetRxFifoThreshold(&huart1, UART_RXFIFO_THRESHOLD_1_8) != HAL_OK)
  {
    Error_Handler();
  }
  if (HAL_UARTEx_DisableFifoMode(&huart1) != HAL_OK)
  {
    Error_Handler();
  }

}

static void MX_DMA_Init(void)
{

  /* DMA controller clock enable */
  __HAL_RCC_DMA1_CLK_ENABLE();

  /* DMA interrupt init */
  /* DMA1_Channel1_IRQn interrupt configuration */
  HAL_NVIC_SetPriority(DMA1_Channel1_IRQn, 0, 0);
  HAL_NVIC_EnableIRQ(DMA1_Channel1_IRQn);
  /* DMA1_Channel2_3_IRQn interrupt configuration */
  HAL_NVIC_SetPriority(DMA1_Channel2_3_IRQn, 0, 0);
  HAL_NVIC_EnableIRQ(DMA1_Channel2_3_IRQn);
  /* DMA1_Ch4_7_DMAMUX1_OVR_IRQn interrupt configuration */
  HAL_NVIC_SetPriority(DMA1_Ch4_7_DMAMUX1_OVR_IRQn, 0, 0);
  HAL_NVIC_EnableIRQ(DMA1_Ch4_7_DMAMUX1_OVR_IRQn);

}

static void MX_GPIO_Init(void)
{
  GPIO_InitTypeDef GPIO_InitStruct = {0};

  /* GPIO Ports Clock Enable */
  __HAL_RCC_GPIOC_CLK_ENABLE();
  __HAL_RCC_GPIOA_CLK_ENABLE();
  __HAL_RCC_GPIOB_CLK_ENABLE();

  /*Configure GPIO pin Output Level */
  HAL_GPIO_WritePin(EN1_GPIO_Port, EN1_Pin, GPIO_PIN_RESET);

  /*Configure GPIO pin Output Level */
  HAL_GPIO_WritePin(EN2_GPIO_Port, EN2_Pin, GPIO_PIN_RESET);

  /*Configure GPIO pin : Viso_Pin */
  GPIO_InitStruct.Pin = Viso_Pin;
  GPIO_InitStruct.Mode = GPIO_MODE_INPUT;
  GPIO_InitStruct.Pull = GPIO_NOPULL;
  HAL_GPIO_Init(Viso_GPIO_Port, &GPIO_InitStruct);

  /*Configure GPIO pin : nFAULT_Pin */
  GPIO_InitStruct.Pin = nFAULT_Pin;
  GPIO_InitStruct.Mode = GPIO_MODE_INPUT;
  GPIO_InitStruct.Pull = GPIO_PULLUP;
  HAL_GPIO_Init(nFAULT_GPIO_Port, &GPIO_InitStruct);

  /*Configure GPIO pin : EN1_Pin */
  GPIO_InitStruct.Pin = EN1_Pin;
  GPIO_InitStruct.Mode = GPIO_MODE_OUTPUT_PP;
  GPIO_InitStruct.Pull = GPIO_NOPULL;
  GPIO_InitStruct.Speed = GPIO_SPEED_FREQ_LOW;
  HAL_GPIO_Init(EN1_GPIO_Port, &GPIO_InitStruct);

  /*Configure GPIO pin : EN2_Pin */
  GPIO_InitStruct.Pin = EN2_Pin;
  GPIO_InitStruct.Mode = GPIO_MODE_OUTPUT_PP;
  GPIO_InitStruct.Pull = GPIO_NOPULL;
  GPIO_InitStruct.Speed = GPIO_SPEED_FREQ_LOW;
  HAL_GPIO_Init(EN2_GPIO_Port, &GPIO_InitStruct);

}

/* USER CODE BEGIN 4 */

void HAL_UART_RxCpltCallback(UART_HandleTypeDef *huart)
{
    HAL_UART_Receive_DMA(&huart1, UART1_rxBuffer, MESSAGE_LENGTH);
}

void HAL_ADC_ConvHalfCpltCallback(ADC_HandleTypeDef *hadc) {
    bufferStart = 0;
    processData_flag = 1;
    //HAL_GPIO_WritePin(TP_GPIO_Port, TP_Pin, GPIO_PIN_SET);
}

void HAL_ADC_ConvCpltCallback(ADC_HandleTypeDef *hadc) {
    bufferStart = DMA_BUFFER_SIZE;
    processData_flag = 1;
    //HAL_GPIO_WritePin(TP_GPIO_Port, TP_Pin, GPIO_PIN_RESET);
}

/* USER CODE END 4 */

void Error_Handler(void)
{
  __disable_irq();
  while (1)
  {
  }
}
